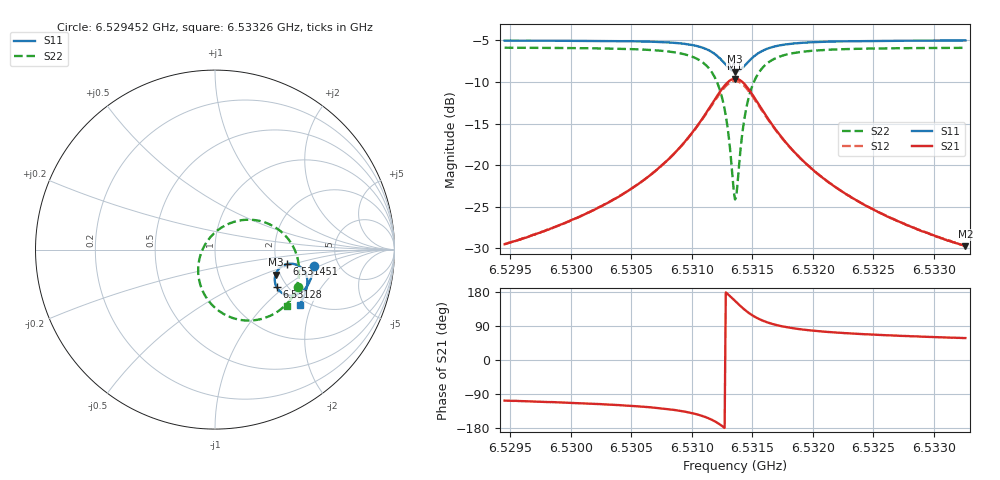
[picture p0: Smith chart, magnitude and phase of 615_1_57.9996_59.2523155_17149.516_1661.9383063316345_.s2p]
#  HZ  S  RI  R  50.00
! Rohde & Schwarz Vector Network Analyzer
! Rohde-Schwarz,ZNB20-2Port,1311601062101988,3.16
! Created: UTC 3/21/2024, 1:17:53 AM
! freq[Hz]  re:S11  im:S11  re:S21  im:S21  re:S12  im:S12  re:S22  im:S22
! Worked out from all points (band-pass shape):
!   401 points, 6.529452 GHz to 6.53326 GHz, reference 50 ohm
!   highest |S21| = -9.60 dB at 6.531356 GHz (marker M1); lowest = -29.7 dB at 6.53326 GHz (marker M2)
!   |S21| within 3 dB of the highest: 6.531167 GHz to 6.531548 GHz (380.4 kHz wide, 0.00582 % of centre)
!   lowest |S11| = -8.8 dB at 6.531356 GHz (marker M3), VSWR 2.15, Z = 94.5 - j30.4 ohm
!   |S11| at or under -10 dB: nowhere
!   |S22| runs from -24.1 to -5.9 dB; largest |S21 - S12| = 0.014
!   S11 on the Smith chart (normalised r, x): 6.529452 GHz: 3.30, -0.87; 6.53128 GHz: 1.77, -0.88; 6.531451 GHz: 2.27, -0.44; 6.53326 GHz: 1.83, -1.64
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6.529452e9  0.5532 -0.0907  -0.00986 -0.032  -0.0105 -0.0319  0.4638 -0.2079
6.5300898e9  0.5403 -0.1444  -0.0206 -0.0453  -0.0216 -0.0449  0.4284 -0.2674
6.530404e9  0.5293 -0.1739  -0.0318 -0.0571  -0.0334 -0.0562  0.3978 -0.3042
6.5307277e9  0.5088 -0.2097  -0.058 -0.0769  -0.0601 -0.0751  0.3384 -0.3523
6.5309562e9  0.4775 -0.2398  -0.1044 -0.0968  -0.1073 -0.0929  0.2457 -0.3895
6.5311181e9  0.4281 -0.2561  -0.1811 -0.0989  -0.183 -0.0911  0.1065 -0.3835
6.5312133e9  0.3788 -0.2447  -0.2565 -0.0622  -0.2542 -0.0514  -0.0169 -0.3077
6.5312514e9  0.3573 -0.2282  -0.288 -0.0273  -0.2824 -0.0163  -0.0629 -0.2429
6.5312799e9  0.3436 -0.2093  -0.3065 0.00932  -0.2984 0.0195  -0.0865 -0.1784
6.5313085e9  0.3348 -0.1851  -0.3162 0.0537  -0.3054 0.0619  -0.0937 -0.1036
6.531337e9  0.3333 -0.1578  -0.3132 0.1025  -0.3007 0.1078  -0.0793 -0.0246
6.5313561e9  0.3373 -0.1393  -0.3028 0.1345  -0.2902 0.1374  -0.0567 0.0256
6.5313751e9  0.345 -0.1222  -0.2866 0.1639  -0.2741 0.1647  -0.0246 0.0706
6.5314132e9  0.3695 -0.0952  -0.2399 0.2092  -0.2298 0.2065  0.0593 0.136
6.5314513e9  0.3993 -0.0812  -0.1862 0.2323  -0.1789 0.228  0.1517 0.1645
6.5315179e9  0.4464 -0.0819  -0.1045 0.2311  -0.101 0.2274  0.2877 0.1479
6.5316131e9  0.4867 -0.1063  -0.0358 0.1949  -0.0341 0.1929  0.398 0.0713
6.5317559e9  0.5094 -0.1447  0.00434 0.1427  0.00573 0.1418  0.4561 -0.0329
6.531994e9  0.5145 -0.1892  0.0201 0.0926  0.0214 0.0922  0.4678 -0.1358
6.5322796e9  0.5081 -0.2253  0.022 0.063  0.023 0.0626  0.4555 -0.2031
6.5326318e9  0.4961 -0.2588  0.0204 0.0441  0.0214 0.0438  0.4356 -0.2537
6.5332602e9  0.4708 -0.3069  0.0174 0.0276  0.018 0.0274  0.4004 -0.3116
